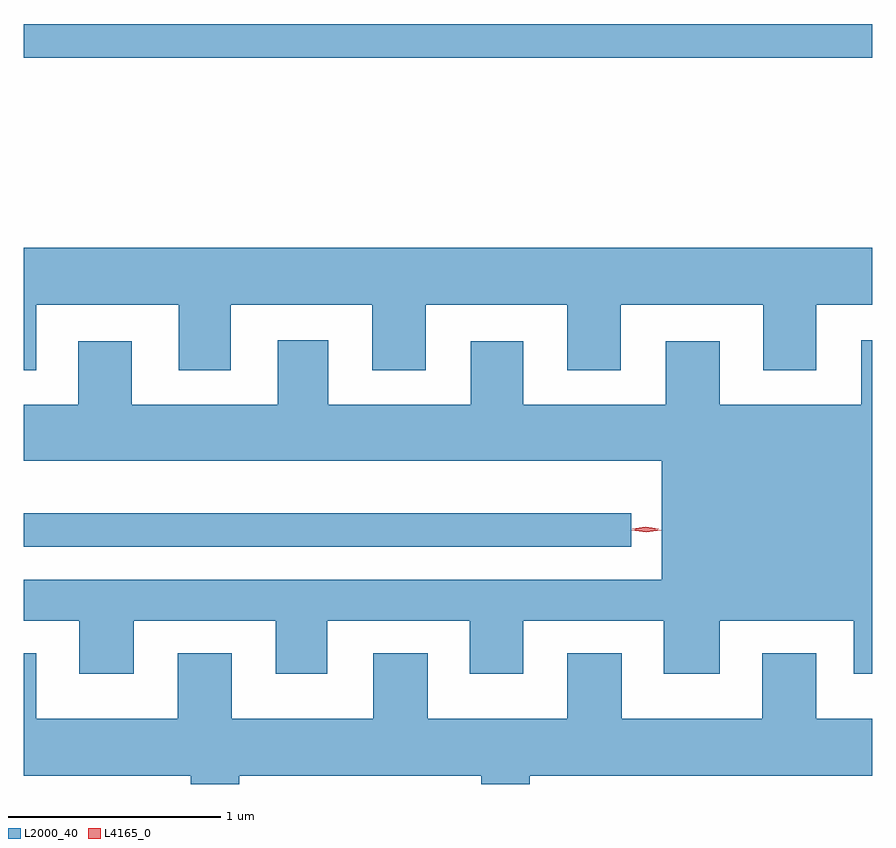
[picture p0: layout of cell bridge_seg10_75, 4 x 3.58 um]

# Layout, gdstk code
import gdstk
lib = gdstk.Library(unit=1e-6, precision=1e-09)
def R(c, l, rs):  # rectangles x0, y0, x1, y1
    for r in rs: c.add(gdstk.rectangle(r[:2], r[2:], *l))
def P(c, l, *ps):  # polygons
    for p in ps: c.add(gdstk.Polygon(p, *l))
L2000_40 = (2000, 40)
L4165_0 = (4165, 0)

bridge_seg10_75 = lib.new_cell('bridge_seg10_75')
R(bridge_seg10_75, L2000_40, [(1583.364,2174.936,1586.228,2175.094), (1583.364,2177.241,1587.364,2177.399)])
P(bridge_seg10_75, L2000_40, [(1583.424,2176.076),(1584.096,2176.076),(1584.096,2175.766),(1584.339,2175.766),(1584.339,2176.076),(1585.006,2176.076),(1585.006,2175.766),(1585.259,2175.766),(1585.259,2176.076),(1585.926,2176.076),(1585.926,2175.766),(1586.179,2175.766),(1586.179,2176.076),(1586.851,2176.076),(1586.851,2175.766),(1587.099,2175.766),(1587.099,2176.076),(1587.364,2176.076),(1587.364,2176.344),(1583.364,2176.344),(1583.364,2175.766),(1583.424,2175.766)],
  [(1583.884,2174.586),(1584.551,2174.586),(1584.551,2174.336),(1584.794,2174.336),(1584.794,2174.586),(1585.466,2174.586),(1585.466,2174.336),(1585.719,2174.336),(1585.719,2174.586),(1586.381,2174.586),(1586.381,2174.336),(1586.644,2174.336),(1586.644,2174.586),(1587.276,2174.586),(1587.276,2174.336),(1587.364,2174.336),(1587.364,2175.909),(1587.311,2175.909),(1587.311,2175.604),(1586.644,2175.604),(1586.644,2175.904),(1586.391,2175.904),(1586.391,2175.604),(1585.719,2175.604),(1585.719,2175.904),(1585.471,2175.904),(1585.471,2175.604),(1584.799,2175.604),(1584.799,2175.909),(1584.561,2175.909),(1584.561,2175.604),(1583.874,2175.604),(1583.874,2175.904),(1583.621,2175.904),(1583.621,2175.604),(1583.364,2175.604),(1583.364,2175.341),(1586.371,2175.341),(1586.371,2174.779),(1583.364,2174.779),(1583.364,2174.586),(1583.626,2174.586),(1583.626,2174.336),(1583.884,2174.336)],
  [(1584.379,2173.856),(1585.521,2173.856),(1585.521,2173.817),(1585.749,2173.817),(1585.749,2173.856),(1587.364,2173.856),(1587.364,2174.124),(1587.099,2174.124),(1587.099,2174.434),(1586.846,2174.434),(1586.846,2174.124),(1586.184,2174.124),(1586.184,2174.434),(1585.926,2174.434),(1585.926,2174.124),(1585.269,2174.124),(1585.269,2174.434),(1585.011,2174.434),(1585.011,2174.124),(1584.344,2174.124),(1584.344,2174.434),(1584.091,2174.434),(1584.091,2174.124),(1583.424,2174.124),(1583.424,2174.434),(1583.364,2174.434),(1583.364,2173.856),(1584.151,2173.856),(1584.151,2173.817),(1584.379,2173.817)])
P(bridge_seg10_75, L4165_0, [(1586.295,2175.01),(1586.233,2175.019),(1586.233,2175.02),(1586.233,2175.02),(1586.295,2175.03),(1586.358,2175.021),(1586.358,2175.02),(1586.358,2175.02)],
  [(1586.299,2175.004),(1586.23,2175.013),(1586.23,2175.014),(1586.23,2175.014),(1586.299,2175.024),(1586.367,2175.014),(1586.368,2175.014),(1586.367,2175.013)])

lib.write_gds('bridge_seg10_75.gds')
